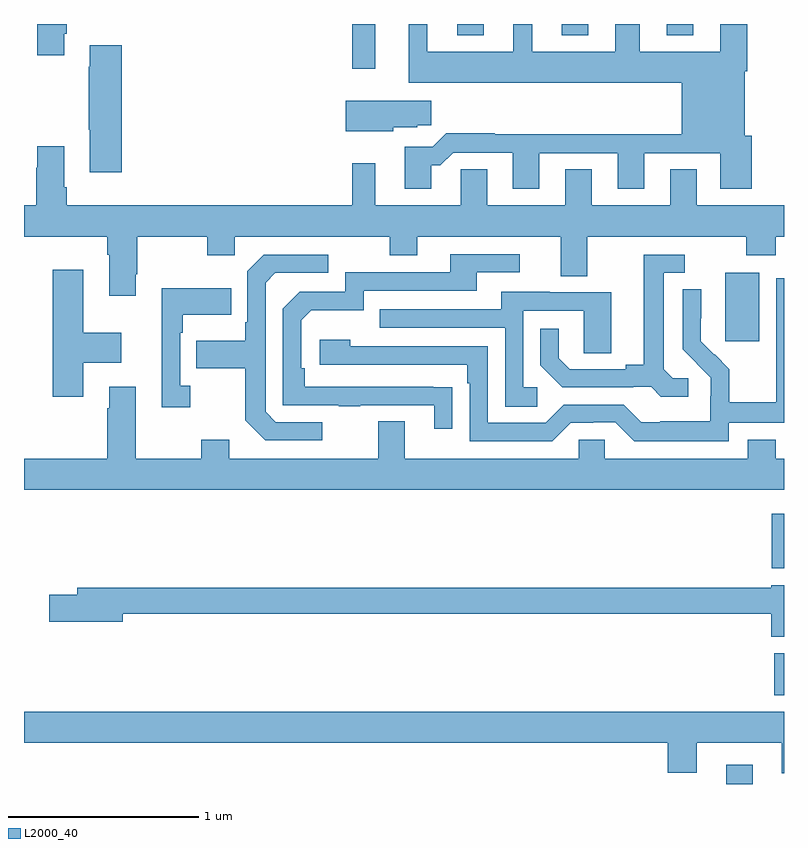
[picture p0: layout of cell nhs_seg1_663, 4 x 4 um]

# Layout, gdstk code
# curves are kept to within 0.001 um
import gdstk
lib = gdstk.Library(unit=1e-6, precision=1e-09)
def R(c, l, rs):  # rectangles x0, y0, x1, y1
    for r in rs: c.add(gdstk.rectangle(r[:2], r[2:], *l))
def A(c, l, x, y, w, h, nx, ny, dx, dy):  # array of equal rectangles
    R(c, l, [(x+i*dx, y+j*dy, x+i*dx+w, y+j*dy+h) for i in range(nx) for j in range(ny)])
def P(c, l, *ps):  # polygons
    for p in ps: c.add(gdstk.Polygon(p, *l))
L2000_40 = (2000, 40)

nhs_seg1_663 = lib.new_cell('nhs_seg1_663')
A(nhs_seg1_663, L2000_40, 149.279, 538.139, 0.14, 0.06, 3, 1, 0.552, 0)
R(nhs_seg1_663, L2000_40, [(150.695,534.199,150.835,534.301), (150.949,534.665,151,534.886), (150.935,535.334,151,535.621), (150.692,536.529,150.871,536.89), (148.728,537.963,148.849,538.199)])
P(nhs_seg1_663, L2000_40, [(147.211,538.147),(147.224,538.147),(147.224,538.199),(147.071,538.199),(147.071,538.035),(147.211,538.035)],
  [(149.143,537.455),(149.192,537.455),(149.259,537.522),(149.573,537.522),(149.573,537.333),(149.713,537.333),(149.713,537.519),(150.125,537.519),(150.125,537.333),(150.265,537.333),(150.265,537.519),(150.665,537.519),(150.665,537.333),(150.83,537.333),(150.83,537.612),(150.793,537.612),(150.793,537.95),(150.806,537.95),(150.806,538.199),(150.665,538.199),(150.665,538.054),(150.241,538.054),(150.241,538.199),(150.113,538.199),(150.113,538.054),(149.674,538.054),(149.674,538.199),(149.576,538.199),(149.576,538.054),(149.122,538.054),(149.122,538.199),(149.024,538.199),(149.024,537.89),(150.461,537.89),(150.461,537.62),(149.477,537.62),(149.477,537.623),(149.222,537.623),(149.151,537.552),(149.003,537.552),(149.003,537.333),(149.143,537.333)],
  [(147.515,538.087),(147.347,538.087),(147.347,537.974),(147.34,537.974),(147.34,537.643),(147.347,537.643),(147.347,537.42),(147.515,537.42)],
  [(148.944,537.656),(149.07,537.656),(149.07,537.667),(149.143,537.667),(149.143,537.796),(148.694,537.796),(148.694,537.635),(148.944,537.635)],
  [(147.211,537.34),(147.211,537.556),(147.071,537.556),(147.071,537.443),(147.064,537.443),(147.064,537.244),(147,537.244),(147,537.08),(147.437,537.08),(147.437,536.984),(147.449,536.984),(147.449,536.769),(147.589,536.769),(147.589,536.881),(147.597,536.881),(147.597,537.08),(147.964,537.08),(147.964,536.981),(148.11,536.981),(148.11,537.08),(148.924,537.08),(148.924,536.981),(149.071,536.981),(149.071,537.08),(149.825,537.08),(149.825,536.872),(149.965,536.872),(149.965,537.08),(150.802,537.08),(150.802,536.981),(150.957,536.981),(150.957,537.08),(151,537.08),(151,537.244),(150.541,537.244),(150.541,537.434),(150.401,537.434),(150.401,537.244),(149.989,537.244),(149.989,537.434),(149.849,537.434),(149.849,537.244),(149.437,537.244),(149.437,537.434),(149.298,537.434),(149.298,537.244),(148.849,537.244),(148.849,537.466),(148.728,537.466),(148.728,537.244),(147.224,537.244),(147.224,537.34)],
  [(149.255,536.288),(148.478,536.289),(148.478,536.386),(148.458,536.386),(148.458,536.64),(148.511,536.693),(148.788,536.693),(148.788,536.796),(149.383,536.796),(149.383,536.892),(149.608,536.892),(149.608,536.988),(149.243,536.988),(149.243,536.892),(148.692,536.892),(148.692,536.79),(148.452,536.79),(148.362,536.7),(148.362,536.193),(148.657,536.193),(148.657,536.188),(148.769,536.188),(148.769,536.193),(149.159,536.193),(149.159,536.07),(149.255,536.07)],
  [(148.57,536.103),(148.326,536.103),(148.272,536.157),(148.272,536.838),(148.323,536.889),(148.6,536.889),(148.6,536.985),(148.263,536.985),(148.176,536.898),(148.176,536.629),(148.164,536.629),(148.164,536.533),(147.907,536.533),(147.907,536.386),(148.164,536.386),(148.164,536.113),(148.269,536.007),(148.57,536.007)],
  [(150.496,536.334),(150.414,536.334),(150.367,536.381),(150.367,536.889),(150.478,536.889),(150.478,536.985),(150.263,536.985),(150.263,536.405),(150.167,536.405),(150.167,536.382),(149.872,536.382),(149.815,536.439),(149.815,536.596),(149.718,536.596),(149.718,536.402),(149.834,536.286),(150.206,536.286),(150.206,536.289),(150.3,536.289),(150.352,536.237),(150.496,536.237)],
  [(147.313,536.417),(147.511,536.417),(147.511,536.575),(147.313,536.575),(147.313,536.905),(147.151,536.905),(147.151,536.238),(147.313,536.238)],
  [(150.708,536.1),(151,536.1),(151,536.862),(150.96,536.862),(150.96,536.432),(150.958,536.432),(150.958,536.209),(150.713,536.209),(150.713,536.383),(150.636,536.46),(150.633,536.457),(150.563,536.528),(150.564,536.804),(150.468,536.804),(150.468,536.486),(150.614,536.338),(150.614,536.241),(150.612,536.241),(150.612,536.107),(150.349,536.107),(150.349,536.103),(150.249,536.103),(150.156,536.196),(149.841,536.196),(149.745,536.1),(149.442,536.1),(149.442,536.502),(148.718,536.502),(148.718,536.536),(148.557,536.536),(148.557,536.406),(149.333,536.406),(149.333,536.309),(149.346,536.309),(149.346,536.004),(149.781,536.004),(149.877,536.1),(149.996,536.1),(149.996,536.103),(150.111,536.103),(150.211,536.003),(150.708,536.003)],
  [(147.874,536.294),(147.822,536.294),(147.822,536.573),(147.835,536.573),(147.835,536.669),(148.091,536.669),(148.091,536.809),(147.725,536.809),(147.725,536.181),(147.874,536.181)],
  [(149.701,536.286),(149.628,536.286),(149.628,536.691),(149.946,536.691),(149.946,536.467),(150.091,536.467),(150.091,536.787),(149.767,536.787),(149.767,536.791),(149.513,536.791),(149.513,536.697),(148.873,536.697),(148.873,536.601),(149.532,536.601),(149.532,536.185),(149.701,536.185)],
  [(151,535.912),(150.957,535.912),(150.957,536.011),(150.809,536.011),(150.809,535.912),(150.057,535.912),(150.057,536.01),(149.919,536.01),(149.919,535.912),(149.005,535.912),(149.005,536.107),(148.865,536.107),(148.865,535.912),(148.081,535.912),(148.081,536.011),(147.934,536.011),(147.934,535.912),(147.589,535.912),(147.589,536.29),(147.449,536.29),(147.449,536.177),(147.437,536.177),(147.437,535.912),(147,535.912),(147,535.748),(151,535.748)],
  [(151,535.246),(150.932,535.246),(150.932,535.232),(147.281,535.232),(147.281,535.196),(147.132,535.196),(147.132,535.054),(147.52,535.054),(147.52,535.096),(150.932,535.096),(150.932,534.974),(151,534.974)],
  [(151,534.58),(147,534.58),(147,534.416),(150.389,534.416),(150.389,534.257),(150.541,534.257),(150.541,534.416),(150.989,534.416),(150.989,534.256),(151,534.256)])

lib.write_gds('nhs_seg1_663.gds')
